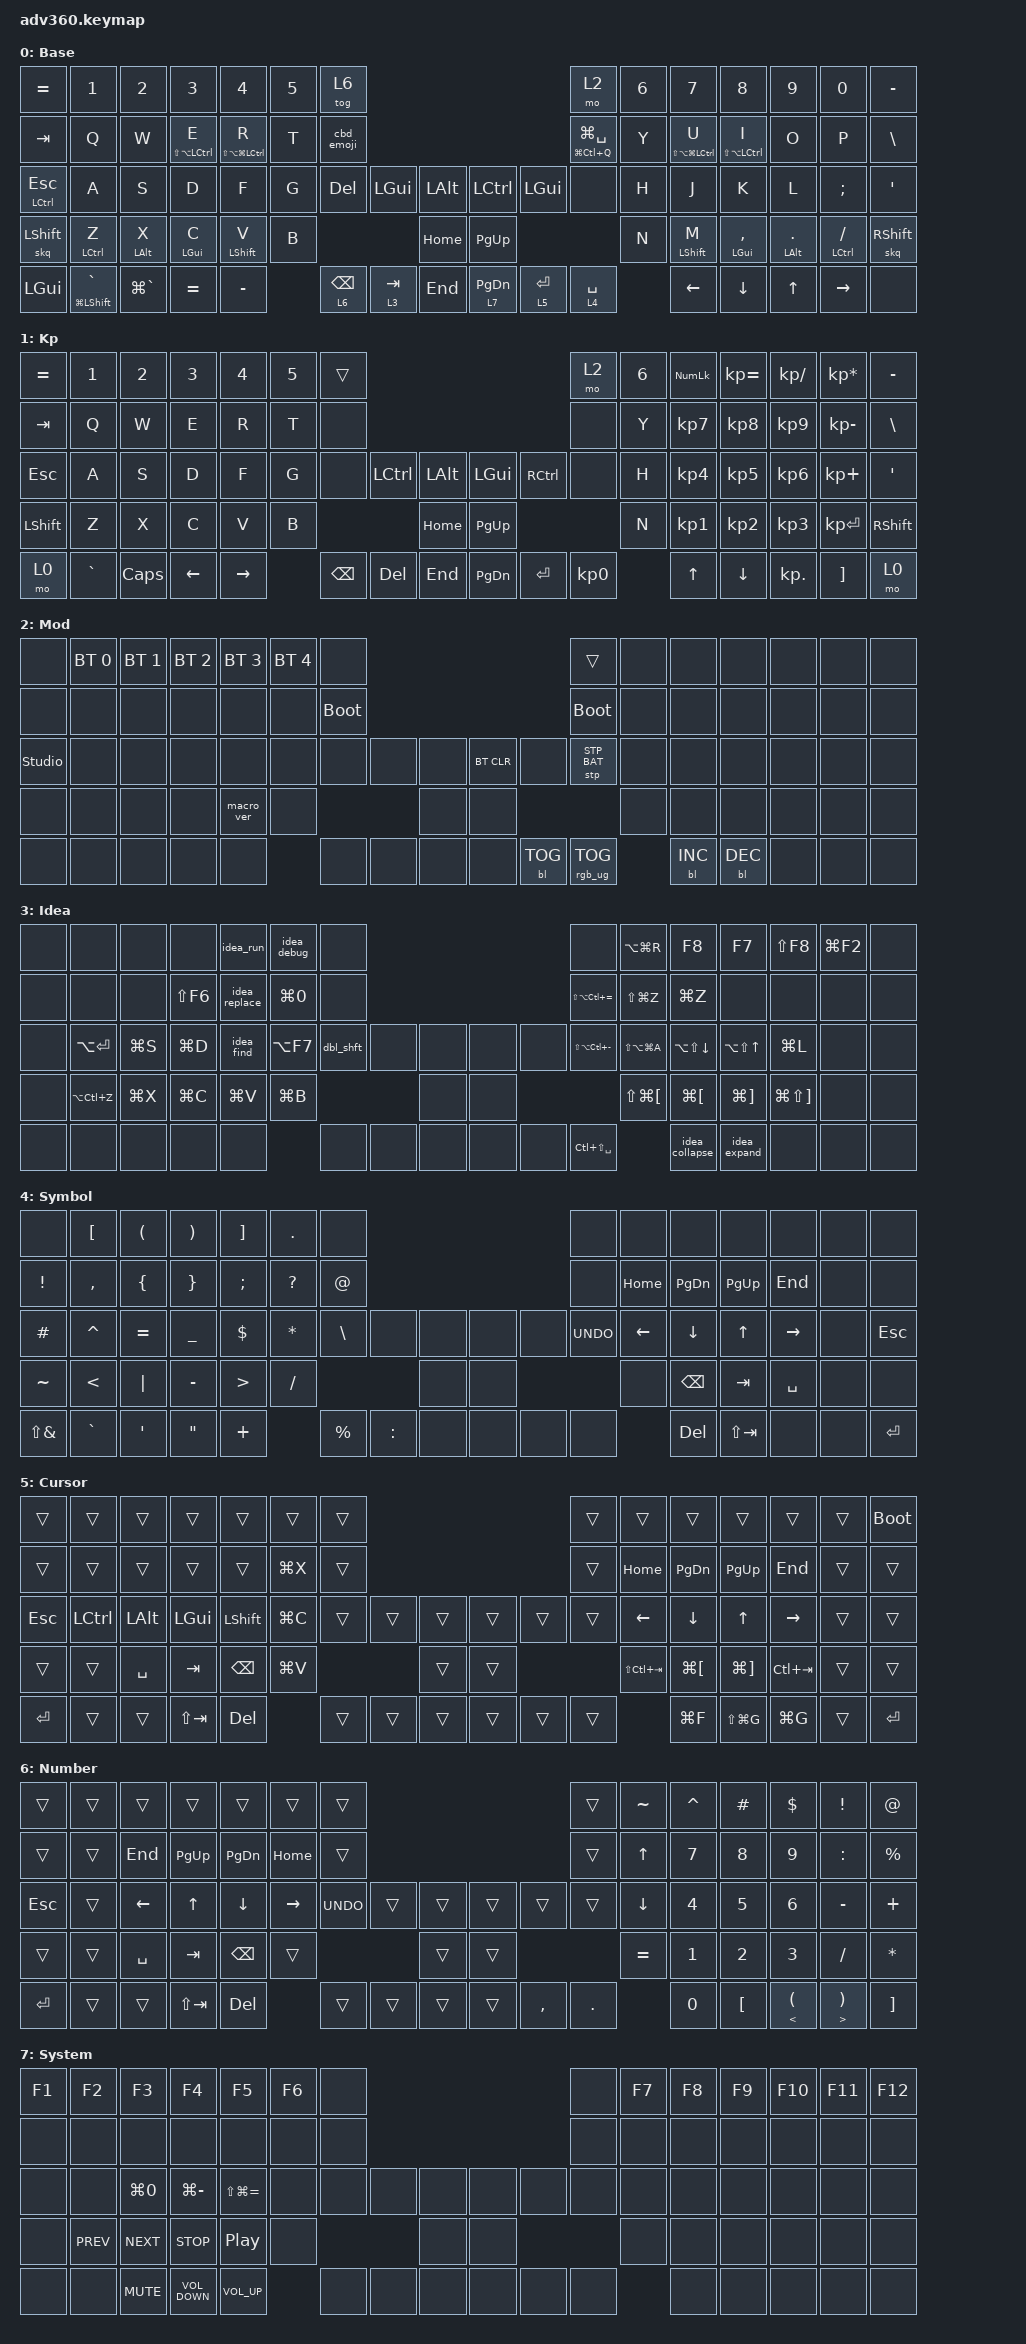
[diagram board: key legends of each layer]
#include <dt-bindings/zmk/stp.h>
#include <behaviors.dtsi>
#include <dt-bindings/zmk/backlight.h>
#include <dt-bindings/zmk/bt.h>
#include <dt-bindings/zmk/keys.h>
#include <dt-bindings/zmk/rgb.h>

&mt { flavor = "tap-preferred"; };

&lt { tapping-term-ms = <250>; };

/ {
    behaviors {
        #include "macros.dtsi"
      #include "version.dtsi"

        hm: homerow_mods {
            compatible = "zmk,behavior-hold-tap";
            label = "HOMEROW_MODS";
            #binding-cells = <2>;
            tapping-term-ms = <300>;
            quick_tap_ms = <150>;
            flavor = "tap-preferred";
            bindings = <&kp>, <&kp>;
        };

        hml: hml {
            compatible = "zmk,behavior-hold-tap";
            label = "HML";
            bindings = <&kp>, <&kp>;

            #binding-cells = <2>;
            tapping-term-ms = <300>;
            quick-tap-ms = <150>;
            flavor = "balanced";
            hold-trigger-key-positions = <7 8 9 10 11 12 13 21 22 23 24 25 26 27 37 38 39 40 41 42 43 44 45 53 54 55 56 57 58 59 68 69 70 71 72 73 74 75 35 36 52 66 65 67>;
            hold-trigger-on-release;
        };

        hmr: hmr {
            compatible = "zmk,behavior-hold-tap";
            label = "HMR";
            bindings = <&kp>, <&kp>;

            #binding-cells = <2>;
            tapping-term-ms = <300>;
            quick-tap-ms = <150>;
            flavor = "balanced";
            hold-trigger-key-positions = <0 1 2 3 4 5 6 14 15 16 17 18 19 20 28 29 30 31 32 33 34 35 36 37 46 47 48 49 50 51 52 53 60 61 62 63 64 65 66 67 68 70 69 38>;
            hold-trigger-on-release;
        };

        hmlshift: hmlshift {
            compatible = "zmk,behavior-hold-tap";
            label = "HMLSHIFT";
            bindings = <&kp>, <&kp>;

            #binding-cells = <2>;
            tapping-term-ms = <200>;
            quick-tap-ms = <150>;
            flavor = "balanced";
            hold-trigger-key-positions = <7 8 9 10 11 12 13 21 22 23 24 25 26 27 37 38 39 40 41 42 43 44 45 53 54 55 56 57 58 59 68 69 70 71 72 73 74 75 35 36 52 66 65 67>;
            hold-trigger-on-release;
        };

        hmrshift: hmrshift {
            compatible = "zmk,behavior-hold-tap";
            label = "HMRSHIFT";
            bindings = <&kp>, <&kp>;

            #binding-cells = <2>;
            tapping-term-ms = <200>;
            quick-tap-ms = <150>;
            flavor = "balanced";
            hold-trigger-key-positions = <0 1 2 3 4 5 6 14 15 16 17 18 19 20 28 29 30 31 32 33 34 35 36 37 46 47 48 49 50 51 52 53 60 61 62 63 64 65 66 67 68 70 69 38>;
            hold-trigger-on-release;
        };

        idea_run: idea_run {
            compatible = "zmk,behavior-tap-dance";
            label = "IDEA_RUN";
            #binding-cells = <0>;
            bindings = <&kp LG(R)>, <&kp LS(LG(R))>;
        };

        idea_debug: idea_debug {
            compatible = "zmk,behavior-tap-dance";
            label = "IDEA_DEBUG";
            #binding-cells = <0>;
            bindings = <&mt LA(LC(D)) LG(N5)>, <&kp LC(D)>;
        };

        skq: skq {
            compatible = "zmk,behavior-sticky-key";
            label = "SKQ";
            bindings = <&kp>;
            #binding-cells = <1>;
            release-after-ms = <1000>;
            quick-release;
            ignore-modifiers;
        };

        cbd_emoji: cbd_emoji {
            compatible = "zmk,behavior-tap-dance";
            label = "CBD_EMOJI";
            #binding-cells = <0>;
            bindings = <&kp LS(LA(LC(BSLH)))>, <&kp LC(LG(SPACE))>;
        };

        thumb: thumb_layer_access {
            compatible = "zmk,behavior-hold-tap";
            flavor = "balanced";
            tapping-term-ms = <200>;
            quick-tap-ms = <300>;
            #binding-cells = <2>;
            bindings = <&mo>, <&kp>;
        };

        space: thumb_layer_access_spacebar {
            compatible = "zmk,behavior-hold-tap";
            flavor = "tap-preferred";
            tapping-term-ms = <200>;
            quick-tap-ms = <150>;
            #binding-cells = <2>;
            bindings = <&mo>, <&kp>;

            retro-tap;
        };

        idea_replace: idea_replace {
            compatible = "zmk,behavior-tap-dance";
            label = "IDEA_REPLACE";
            #binding-cells = <0>;
            bindings = <&kp LG(R)>, <&kp LG(LS(R))>;
        };

        idea_find: idea_find {
            compatible = "zmk,behavior-tap-dance";
            label = "IDEA_FIND";
            #binding-cells = <0>;
            bindings = <&kp LG(F)>, <&kp LG(LS(F))>;
        };

        idea_collapse: idea_collapse {
            compatible = "zmk,behavior-tap-dance";
            label = "IDEA_COLLAPSE";
            #binding-cells = <0>;
            bindings = <&kp LG(MINUS)>, <&kp LG(LS(MINUS))>;
        };

        idea_expand: idea_expand {
            compatible = "zmk,behavior-tap-dance";
            label = "IDEA_EXPAND";
            #binding-cells = <0>;
            bindings = <&kp LG(EQUAL)>, <&kp LG(LS(EQUAL))>;
        };

        mhl: mhl {
            compatible = "zmk,behavior-hold-tap";
            label = "MHL";
            bindings = <&kp>, <&kp>;

            #binding-cells = <2>;
            tapping-term-ms = <250>;
            quick-tap-ms = <150>;
            flavor = "tap-preferred";
            hold-trigger-key-positions = <7 8 9 10 11 12 13 21 22 23 24 25 26 27 37 38 39 40 41 42 43 44 45 53 54 55 56 57 58 59 68 69 70 71 72 73 74 75 35 36 52 66 65 67>;
            hold-trigger-on-release;
        };

        mhr: mhr {
            compatible = "zmk,behavior-hold-tap";
            label = "MHR";
            bindings = <&kp>, <&kp>;

            #binding-cells = <2>;
            tapping-term-ms = <250>;
            quick-tap-ms = <150>;
            flavor = "tap-preferred";
            hold-trigger-key-positions = <0 1 2 3 4 5 6 14 15 16 17 18 19 20 28 29 30 31 32 33 34 35 36 37 46 47 48 49 50 51 52 53 60 61 62 63 64 65 66 67 68 70 69 38>;
            hold-trigger-on-release;
        };

        n1_exclamation: n1_exclamation {
            compatible = "zmk,behavior-mod-morph";
            label = "N1_EXCLAMATION";
            bindings = <&kp EXCLAMATION>, <&kp N1>;

            #binding-cells = <0>;
            mods = <(MOD_LSFT|MOD_RSFT)>;
        };
    };

    macros {
        dbl_shft: dbl_shft {
            compatible = "zmk,behavior-macro";
            #binding-cells = <0>;
            bindings = <&kp LEFT_SHIFT &kp LEFT_SHIFT>;
            label = "DBL_SHFT";
        };
    };

    keymap {
        compatible = "zmk,keymap";

        default_layer {
            display-name = "Base";
            bindings = <
&kp EQUAL             &kp N1                    &kp N2           &kp N3                       &kp N4                           &kp N5  &tog 6                                                                            &mo 2                    &kp N6  &kp N7                           &kp N8                       &kp N9             &kp N0                  &kp MINUS
&kp TAB               &kp Q                     &kp W            &mhl LS(LA(LEFT_CONTROL)) E  &mhl LS(LA(LG(LEFT_CONTROL))) R  &kp T   &cbd_emoji                                                                        &mt LG(LC(Q)) LG(SPACE)  &kp Y   &mhr LS(LA(LG(LEFT_CONTROL))) U  &mhr LS(LA(LEFT_CONTROL)) I  &kp O              &kp P                   &kp BSLH
&mt LEFT_CONTROL ESC  &kp A                     &kp S            &kp D                        &kp F                            &kp G   &kp DELETE          &kp LEFT_GUI  &kp LALT      &kp LEFT_CONTROL  &kp LEFT_GUI    &none                    &kp H   &kp J                            &kp K                        &kp L              &kp SEMI                &kp SQT
&skq LSHFT            &hml LEFT_CONTROL Z       &hml LEFT_ALT X  &hml LEFT_GUI C              &hml LEFT_SHIFT V                &kp B                                     &kp HOME      &kp PG_UP                                                  &kp N   &hmr LEFT_SHIFT M                &hmr LEFT_GUI COMMA          &hmr LEFT_ALT DOT  &hmr LEFT_CONTROL FSLH  &skq RSHFT
&kp LEFT_GUI          &mt LG(LEFT_SHIFT) GRAVE  &kp LG(GRAVE)    &kp EQUAL                    &kp MINUS                                &thumb 6 BACKSPACE  &thumb 3 TAB  &kp END       &lt 7 PAGE_DOWN   &thumb 5 ENTER  &space 4 SPACE                   &kp LEFT_ARROW                   &kp DOWN                     &kp UP_ARROW       &kp RIGHT_ARROW         &none
            >;
        };

        keypad {
            display-name = "Kp";
            bindings = <
&kp EQUAL  &kp N1     &kp N2    &kp N3    &kp N4     &kp N5  &trans                                                   &mo 2      &kp N6  &kp KP_NUM  &kp KP_EQUAL  &kp KP_DIVIDE  &kp KP_MULTIPLY  &kp MINUS
&kp TAB    &kp Q      &kp W     &kp E     &kp R      &kp T   &none                                                    &none      &kp Y   &kp KP_N7   &kp KP_N8     &kp KP_N9      &kp KP_MINUS     &kp BSLH
&kp ESC    &kp A      &kp S     &kp D     &kp F      &kp G   &none     &kp LCTRL  &kp LALT      &kp LGUI   &kp RCTRL  &none      &kp H   &kp KP_N4   &kp KP_N5     &kp KP_N6      &kp KP_PLUS      &kp SQT
&kp LSHFT  &kp Z      &kp X     &kp C     &kp V      &kp B                        &kp HOME      &kp PG_UP                        &kp N   &kp KP_N1   &kp KP_N2     &kp KP_N3      &kp KP_ENTER     &kp RSHFT
&mo 0      &kp GRAVE  &kp CAPS  &kp LEFT  &kp RIGHT          &kp BSPC  &kp DEL    &kp END       &kp PG_DN  &kp ENTER  &kp KP_N0          &kp UP      &kp DOWN      &kp KP_DOT     &kp RBKT         &mo 0
            >;
        };

        mod {
            display-name = "Mod";
            bindings = <
&none           &bt BT_SEL 0  &bt BT_SEL 1  &bt BT_SEL 2  &bt BT_SEL 3  &bt BT_SEL 4  &none                                                  &trans           &none  &none       &none       &none  &none  &none
&none           &none         &none         &none         &none         &none         &bootloader                                            &bootloader      &none  &none       &none       &none  &none  &none
&studio_unlock  &none         &none         &none         &none         &none         &none        &none  &none      &bt BT_CLR  &none       &stp STP_BAT     &none  &none       &none       &none  &none  &none
&none           &none         &none         &none         &macro_ver    &none                             &none      &none                                    &none  &none       &none       &none  &none  &none
&none           &none         &none         &none         &none                       &none        &none  &none      &none       &bl BL_TOG  &rgb_ug RGB_TOG         &bl BL_INC  &bl BL_DEC  &none  &none  &none
            >;
        };

        Idea {
            bindings = <
&none  &none          &none      &none       &idea_run      &idea_debug  &none                                      &none                  &kp LA(LG(R))      &kp F8                  &kp F7                &kp LS(F8)        &kp LG(F2)  &none
&none  &none          &none      &kp LS(F6)  &idea_replace  &kp LG(N0)   &none                                      &kp LS(LA(LC(EQUAL)))  &kp LS(LG(Z))      &kp LG(Z)               &none                 &none             &none       &none
&none  &kp LA(ENTER)  &kp LG(S)  &kp LG(D)   &idea_find     &kp LA(F7)   &dbl_shft  &none  &none      &none  &none  &kp LS(LA(LC(MINUS)))  &kp LS(LA(LG(A)))  &kp LA(LS(DOWN_ARROW))  &kp LA(LS(UP_ARROW))  &kp LG(L)         &none       &none
&none  &kp LA(LC(Z))  &kp LG(X)  &kp LG(C)   &kp LG(V)      &kp LG(B)                      &none      &none                                &kp LS(LG(LBKT))   &kp LG(LBKT)            &kp LG(RBKT)          &kp LG(LS(RBKT))  &none       &none
&none  &none          &none      &none       &none                       &none      &none  &none      &none  &none  &kp LC(LS(SPACE))                         &idea_collapse          &idea_expand          &none             &none       &none
            >;
        };

        Symbol {
            bindings = <
&none              &kp LBKT   &kp LPAR          &kp RPAR           &kp RBKT       &kp DOT       &none                                              &none       &none           &none           &none         &none            &none  &none
&kp EXCL           &kp COMMA  &kp LBRC          &kp RBRC           &kp SEMICOLON  &kp QUESTION  &kp AT_SIGN                                        &none       &kp HOME        &kp PAGE_DOWN   &kp PAGE_UP   &kp END          &none  &none
&kp POUND          &kp CARET  &kp EQUAL         &kp UNDERSCORE     &kp DOLLAR     &kp ASTERISK  &kp BACKSLASH  &none      &none      &none  &none  &kp K_UNDO  &kp LEFT_ARROW  &kp DOWN_ARROW  &kp UP_ARROW  &kp RIGHT_ARROW  &none  &kp ESCAPE
&kp TILDE          &kp LT     &kp PIPE          &kp MINUS          &kp GT         &kp SLASH                               &none      &none                     &none           &kp BACKSPACE   &kp TAB       &kp SPACE        &none  &none
&kp LS(AMPERSAND)  &kp GRAVE  &kp SINGLE_QUOTE  &kp DOUBLE_QUOTES  &kp PLUS                     &kp PERCENT    &kp COLON  &none      &none  &none  &none                       &kp DELETE      &kp LS(TAB)   &none            &none  &kp ENTER
            >;
        };

        Cursor {
            bindings = <
&trans      &trans            &trans        &trans        &trans          &trans     &trans                                      &trans  &trans           &trans          &trans         &trans           &trans  &bootloader
&trans      &trans            &trans        &trans        &trans          &kp LG(X)  &trans                                      &trans  &kp HOME         &kp PAGE_DOWN   &kp PAGE_UP    &kp END          &trans  &trans
&kp ESCAPE  &kp LEFT_CONTROL  &kp LEFT_ALT  &kp LEFT_GUI  &kp LEFT_SHIFT  &kp LG(C)  &trans  &trans  &trans      &trans  &trans  &trans  &kp LEFT_ARROW   &kp DOWN_ARROW  &kp UP_ARROW   &kp RIGHT_ARROW  &trans  &trans
&trans      &trans            &kp SPACE     &kp TAB       &kp BACKSPACE   &kp LG(V)                  &trans      &trans                  &kp LS(LC(TAB))  &kp LG(LBKT)    &kp LG(RBKT)   &kp LC(TAB)      &trans  &trans
&kp ENTER   &trans            &trans        &kp LS(TAB)   &kp DELETE                 &trans  &trans  &trans      &trans  &trans  &trans                   &kp LG(F)       &kp LS(LG(G))  &kp LG(G)        &trans  &kp ENTER
            >;
        };

        Number {
            bindings = <
&trans      &trans  &trans          &trans        &trans          &trans           &trans                                             &trans   &kp TILDE       &kp CARET  &kp POUND  &kp DOLLAR   &kp EXCL     &kp AT_SIGN
&trans      &trans  &kp END         &kp PAGE_UP   &kp PAGE_DOWN   &kp HOME         &trans                                             &trans   &kp UP_ARROW    &kp N7     &kp N8     &kp N9       &kp COLON    &kp PERCENT
&kp ESCAPE  &trans  &kp LEFT_ARROW  &kp UP_ARROW  &kp DOWN_ARROW  &kp RIGHT_ARROW  &kp K_UNDO  &trans  &trans      &trans  &trans     &trans   &kp DOWN_ARROW  &kp N4     &kp N5     &kp N6       &kp MINUS    &kp PLUS
&trans      &trans  &kp SPACE       &kp TAB       &kp BACKSPACE   &trans                               &trans      &trans                      &kp EQUAL       &kp N1     &kp N2     &kp N3       &kp SLASH    &kp ASTERISK
&kp ENTER   &trans  &trans          &kp LS(TAB)   &kp DELETE                       &trans      &trans  &trans      &trans  &kp COMMA  &kp DOT                  &kp N0     &kp LBKT   &mt LT LPAR  &mt GT RPAR  &kp RBKT
            >;
        };

        System {
            bindings = <
&kp F1  &kp F2      &kp F3      &kp F4             &kp F5             &kp F6  &none                                  &none  &kp F7  &kp F8  &kp F9  &kp F10  &kp F11  &kp F12
&none   &none       &none       &none              &none              &none   &none                                  &none  &none   &none   &none   &none    &none    &none
&none   &none       &kp LG(N0)  &kp LG(MINUS)      &kp LS(LG(EQUAL))  &none   &none  &none  &none      &none  &none  &none  &none   &none   &none   &none    &none    &none
&none   &kp C_PREV  &kp C_NEXT  &kp C_STOP         &kp C_PLAY_PAUSE   &none                 &none      &none                &none   &none   &none   &none    &none    &none
&none   &none       &kp C_MUTE  &kp C_VOLUME_DOWN  &kp C_VOLUME_UP            &none  &none  &none      &none  &none  &none          &none   &none   &none    &none    &none
            >;
        };
    };
};
